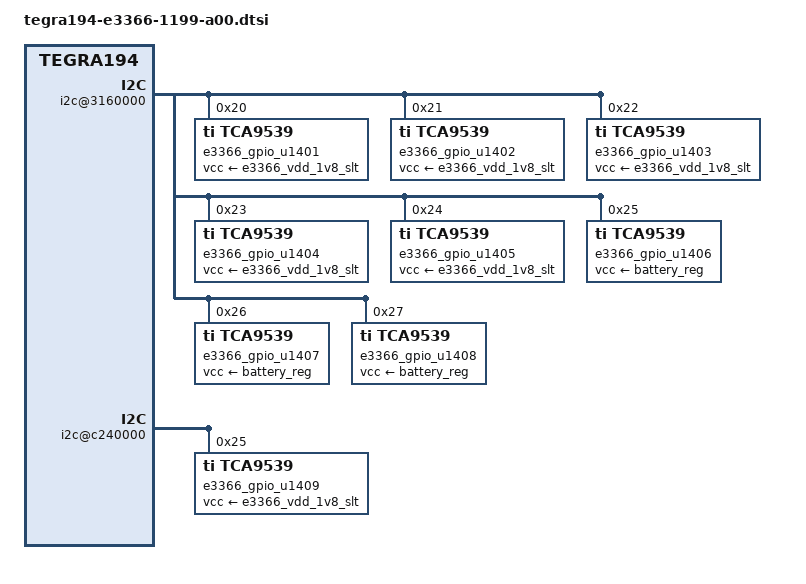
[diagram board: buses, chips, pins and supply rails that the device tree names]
/*
 * Copyright (c) 2017, NVIDIA CORPORATION.  All rights reserved.
 *
 * This program is free software; you can redistribute it and/or modify
 * it under the terms of the GNU General Public License as published by
 * the Free Software Foundation; version 2 of the License.
 *
 * This program is distributed in the hope that it will be useful, but WITHOUT
 * ANY WARRANTY; without even the implied warranty of MERCHANTABILITY or
 * FITNESS FOR A PARTICULAR PURPOSE.  See the GNU General Public License for
 * more details.
 */

#include "dt-bindings/gpio/tegra194-gpio.h"
#include "dt-bindings/extcon-ids.h"
#include <t19x-common-modules/tegra194-cvb-e3366-0000-a00.dtsi>
#include "tegra194-e3366-disp.dtsi"
/ {
	i2c@3160000 {
		e3366_gpio_u1401: gpio@20 {
			compatible = "ti,tca9539";
			reg = <0x20>;
			gpio-controller;
			#gpio-cells = <2>;
			vcc-supply = <&e3366_vdd_1v8_slt>;
		};

		e3366_gpio_u1402: gpio@21 {
			compatible = "ti,tca9539";
			reg = <0x21>;
			gpio-controller;
			#gpio-cells = <2>;
			vcc-supply = <&e3366_vdd_1v8_slt>;
		};

		e3366_gpio_u1403: gpio@22 {
			compatible = "ti,tca9539";
			reg = <0x22>;
			gpio-controller;
			#gpio-cells = <2>;
			vcc-supply = <&e3366_vdd_1v8_slt>;
		};

		e3366_gpio_u1404: gpio@23 {
			compatible = "ti,tca9539";
			reg = <0x23>;
			gpio-controller;
			#gpio-cells = <2>;
			vcc-supply = <&e3366_vdd_1v8_slt>;
		};

		e3366_gpio_u1405: gpio@24 {
			compatible = "ti,tca9539";
			reg = <0x24>;
			gpio-controller;
			#gpio-cells = <2>;
			vcc-supply = <&e3366_vdd_1v8_slt>;

		};

		e3366_gpio_u1406: gpio@25 {
			compatible = "ti,tca9539";
			reg = <0x25>;
			gpio-controller;
			#gpio-cells = <2>;
			vcc-supply = <&battery_reg>;
		};

		e3366_gpio_u1407: gpio@26 {
			compatible = "ti,tca9539";
			reg = <0x26>;
			gpio-controller;
			#gpio-cells = <2>;
			vcc-supply = <&battery_reg>;

			/* DAP2 to codec */
			dap_lb_cb {
				gpio-hog;
				output-low;
				gpios = <3 0>;
				label = "dap_lb_cb";
				status = "okay";
			};
		};

		e3366_gpio_u1408: gpio@27 {
			compatible = "ti,tca9539";
			reg = <0x27>;
			gpio-controller;
			#gpio-cells = <2>;
			vcc-supply = <&battery_reg>;
		};
	};

	i2c@c240000 {
		e3366_gpio_u1409: gpio@25 {
			compatible = "ti,tca9539";
			reg = <0x25>;
			gpio-controller;
			#gpio-cells = <2>;
			vcc-supply = <&e3366_vdd_1v8_slt>;
		};
	};

	external-connection {
		vbus_id_extcon: extcon@1 {
			compatible = "extcon-gpio-states";
			reg = <0x1>;
			extcon-gpio,name = "VBUS_ID";
			extcon-gpio,wait-for-gpio-scan = <0>;
			extcon-gpio,cable-states = <0x3 0x0
						    0x0 0x2
						    0x1 0x2
						    0x2 0x1>;
			gpios = <&tegra_main_gpio TEGRA194_MAIN_GPIO(M, 5) 0 &e3366_gpio_u1403 15 0>;
			extcon-gpio,out-cable-names = <EXTCON_USB EXTCON_USB_HOST EXTCON_NONE>;
			#extcon-cells = <1>;
		};
	};
};
